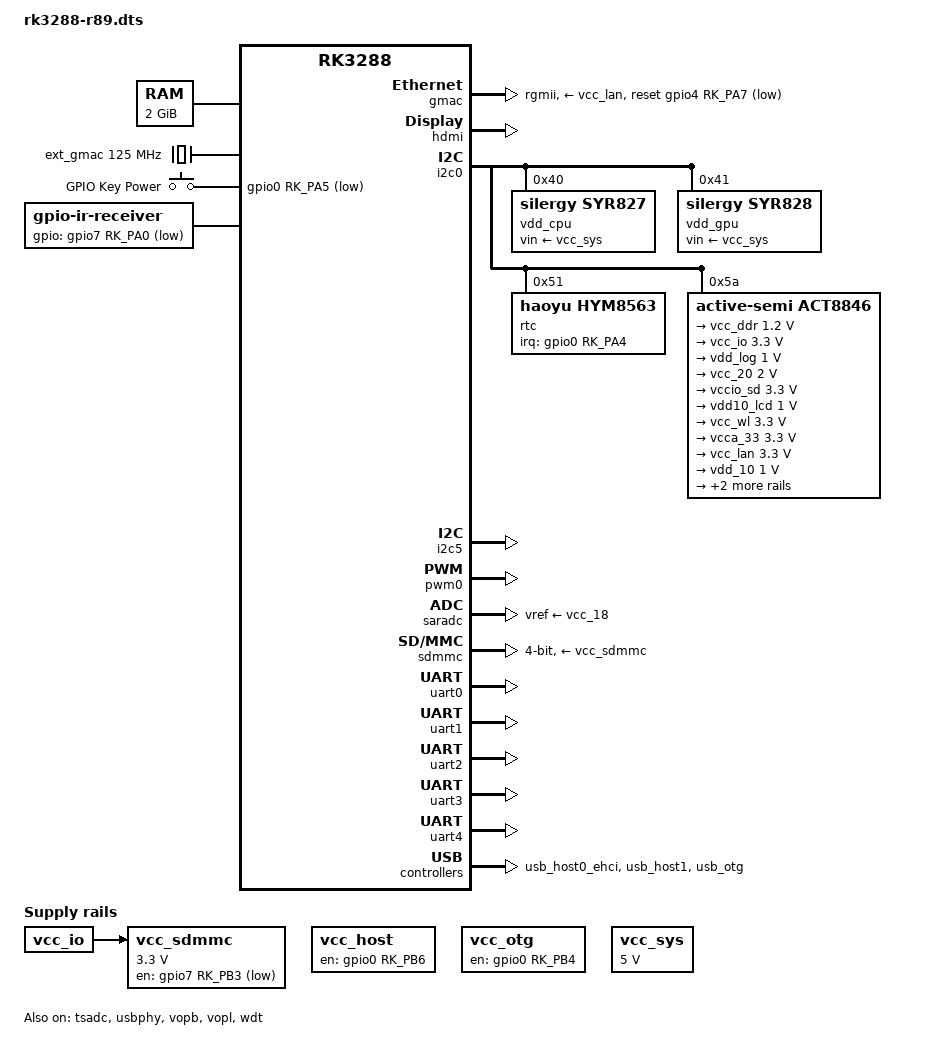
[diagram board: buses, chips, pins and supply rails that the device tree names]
// SPDX-License-Identifier: (GPL-2.0+ OR MIT)
/*
 * Copyright (c) 2015 Heiko Stuebner <heiko@sntech.de>
 */

/dts-v1/;
#include <dt-bindings/input/input.h>
#include <dt-bindings/pwm/pwm.h>
#include "rk3288.dtsi"

/ {
	compatible = "netxeon,r89", "rockchip,rk3288";

	memory@0 {
		device_type = "memory";
		reg = <0x0 0x0 0x0 0x80000000>;
	};

	ext_gmac: external-gmac-clock {
		compatible = "fixed-clock";
		clock-frequency = <125000000>;
		clock-output-names = "ext_gmac";
		#clock-cells = <0>;
	};

	gpio-keys {
		compatible = "gpio-keys";
		autorepeat;

		pinctrl-names = "default";
		pinctrl-0 = <&pwrbtn>;

		power {
			gpios = <&gpio0 RK_PA5 GPIO_ACTIVE_LOW>;
			linux,code = <KEY_POWER>;
			label = "GPIO Key Power";
			linux,input-type = <1>;
			wakeup-source;
			debounce-interval = <100>;
		};
	};

	ir: ir-receiver {
		compatible = "gpio-ir-receiver";
		gpios = <&gpio7 RK_PA0 GPIO_ACTIVE_LOW>;
		pinctrl-names = "default";
		pinctrl-0 = <&ir_int>;
	};

	vcc_host: vcc-host-regulator {
		compatible = "regulator-fixed";
		enable-active-high;
		gpio = <&gpio0 RK_PB6 GPIO_ACTIVE_HIGH>;
		pinctrl-names = "default";
		pinctrl-0 = <&host_vbus_drv>;
		regulator-name = "vcc_host";
		regulator-always-on;
		regulator-boot-on;
	};

	vcc_otg: vcc-otg-regulator {
		compatible = "regulator-fixed";
		enable-active-high;
		gpio = <&gpio0 RK_PB4 GPIO_ACTIVE_HIGH>;
		pinctrl-names = "default";
		pinctrl-0 = <&otg_vbus_drv>;
		regulator-name = "vcc_otg";
		regulator-always-on;
		regulator-boot-on;
	};

	vcc_sdmmc: sdmmc-regulator {
		compatible = "regulator-fixed";
		regulator-name = "sdmmc-supply";
		regulator-min-microvolt = <3300000>;
		regulator-max-microvolt = <3300000>;
		gpio = <&gpio7 RK_PB3 GPIO_ACTIVE_LOW>;
		startup-delay-us = <100000>;
		vin-supply = <&vcc_io>;
	};

	vcc_sys: sys-regulator {
		compatible = "regulator-fixed";
		regulator-name = "sys-supply";
		regulator-min-microvolt = <5000000>;
		regulator-max-microvolt = <5000000>;
		regulator-always-on;
		regulator-boot-on;
	};
};

&cpu0 {
	cpu0-supply = <&vdd_cpu>;
};

&gmac {
	phy-supply = <&vcc_lan>;
	phy-mode = "rgmii";
	clock_in_out = "input";
	snps,reset-gpio = <&gpio4 RK_PA7 GPIO_ACTIVE_HIGH>;
	snps,reset-active-low;
	snps,reset-delays-us = <0 10000 1000000>;
	assigned-clocks = <&cru SCLK_MAC>;
	assigned-clock-parents = <&ext_gmac>;
	pinctrl-names = "default";
	pinctrl-0 = <&rgmii_pins>;
	tx_delay = <0x30>;
	rx_delay = <0x10>;
	status = "ok";
};

&hdmi {
	status = "okay";
};

&i2c0 {
	status = "okay";

	vdd_cpu: pmic@40 {
		compatible = "silergy,syr827";
		reg = <0x40>;
		fcs,suspend-voltage-selector = <1>;
		regulator-name = "VDD_CPU";
		regulator-enable-ramp-delay = <300>;
		regulator-min-microvolt = <850000>;
		regulator-max-microvolt = <1350000>;
		regulator-ramp-delay = <8000>;
		regulator-always-on;
		regulator-boot-on;
		vin-supply = <&vcc_sys>;
	};

	vdd_gpu: pmic@41 {
		compatible = "silergy,syr828";
		reg = <0x41>;
		fcs,suspend-voltage-selector = <1>;
		regulator-name = "VDD_GPU";
		regulator-enable-ramp-delay = <300>;
		regulator-min-microvolt = <850000>;
		regulator-max-microvolt = <1350000>;
		regulator-ramp-delay = <8000>;
		regulator-always-on;
		regulator-boot-on;
		vin-supply = <&vcc_sys>;
	};

	rtc@51 {
		compatible = "haoyu,hym8563";
		reg = <0x51>;
		#clock-cells = <0>;
		clock-output-names = "xin32k";
		interrupt-parent = <&gpio0>;
		interrupts = <RK_PA4 IRQ_TYPE_EDGE_FALLING>;
		pinctrl-names = "default";
		pinctrl-0 = <&pmic_int>;
	};

	act8846: pmic@5a {
		compatible = "active-semi,act8846";
		reg = <0x5a>;
		pinctrl-names = "default";
		pinctrl-0 = <&pmic_vsel>, <&pwr_hold>;
		system-power-controller;

		regulators {
			vcc_ddr: REG1 {
				regulator-name = "VCC_DDR";
				regulator-min-microvolt = <1200000>;
				regulator-max-microvolt = <1200000>;
				regulator-always-on;
			};

			vcc_io: REG2 {
				regulator-name = "VCC_IO";
				regulator-min-microvolt = <3300000>;
				regulator-max-microvolt = <3300000>;
				regulator-always-on;
			};

			vdd_log: REG3 {
				regulator-name = "VDD_LOG";
				regulator-min-microvolt = <1000000>;
				regulator-max-microvolt = <1000000>;
				regulator-always-on;
			};

			vcc_20: REG4 {
				regulator-name = "VCC_20";
				regulator-min-microvolt = <2000000>;
				regulator-max-microvolt = <2000000>;
				regulator-always-on;
			};

			vccio_sd: REG5 {
				regulator-name = "VCCIO_SD";
				regulator-min-microvolt = <3300000>;
				regulator-max-microvolt = <3300000>;
				regulator-always-on;
			};

			vdd10_lcd: REG6 {
				regulator-name = "VDD10_LCD";
				regulator-min-microvolt = <1000000>;
				regulator-max-microvolt = <1000000>;
				regulator-always-on;
			};

			vcc_wl: REG7 {
				regulator-name = "VCC_WL";
				regulator-min-microvolt = <3300000>;
				regulator-max-microvolt = <3300000>;
				regulator-always-on;
			};

			vcca_33: REG8 {
				regulator-name = "VCCA_33";
				regulator-min-microvolt = <3300000>;
				regulator-max-microvolt = <3300000>;
				regulator-always-on;
			};

			vcc_lan: REG9 {
				regulator-name = "VCC_LAN";
				regulator-min-microvolt = <3300000>;
				regulator-max-microvolt = <3300000>;
				regulator-always-on;
			};

			vdd_10: REG10 {
				regulator-name = "VDD_10";
				regulator-min-microvolt = <1000000>;
				regulator-max-microvolt = <1000000>;
				regulator-always-on;
			};

			vcc_18: REG11 {
				regulator-name = "VCC_18";
				regulator-min-microvolt = <1800000>;
				regulator-max-microvolt = <1800000>;
				regulator-always-on;
			};

			vcc18_lcd: REG12 {
				regulator-name = "VCC18_LCD";
				regulator-min-microvolt = <1800000>;
				regulator-max-microvolt = <1800000>;
				regulator-always-on;
			};
		};
	};
};

&i2c5 {
	status = "okay";
};

&pinctrl {
	pcfg_output_high: pcfg-output-high {
		output-high;
	};

	pcfg_output_low: pcfg-output-low {
		output-low;
	};

	act8846 {
		pmic_vsel: pmic-vsel {
			rockchip,pins = <7 RK_PA1 RK_FUNC_GPIO &pcfg_output_low>;
		};

		pwr_hold: pwr-hold {
			rockchip,pins = <0 RK_PA6 RK_FUNC_GPIO &pcfg_output_high>;
		};
	};

	buttons {
		pwrbtn: pwrbtn {
			rockchip,pins = <0 RK_PA5 RK_FUNC_GPIO &pcfg_pull_up>;
		};
	};

	ir {
		ir_int: ir-int {
			rockchip,pins = <7 RK_PA0 RK_FUNC_GPIO &pcfg_pull_up>;
		};
	};

	pmic {
		pmic_int: pmic-int {
			rockchip,pins = <0 RK_PA4 RK_FUNC_GPIO &pcfg_pull_up>;
		};
	};

	usb {
		host_vbus_drv: host-vbus-drv {
			rockchip,pins = <0 RK_PB6 RK_FUNC_GPIO &pcfg_pull_none>;
		};

		otg_vbus_drv: otg-vbus-drv {
			rockchip,pins = <0 RK_PB4 RK_FUNC_GPIO &pcfg_pull_none>;
		};
	};
};

&pwm0 {
	status = "okay";
};

&saradc {
	vref-supply = <&vcc_18>;
	status = "okay";
};

&sdmmc {
	bus-width = <4>;
	cap-mmc-highspeed;
	cap-sd-highspeed;
	card-detect-delay = <200>;
	disable-wp;
	pinctrl-names = "default";
	pinctrl-0 = <&sdmmc_clk &sdmmc_cmd &sdmmc_cd &sdmmc_bus4>;
	vmmc-supply = <&vcc_sdmmc>;
	vqmmc-supply = <&vccio_sd>;
	status = "okay";
};

&tsadc {
	rockchip,hw-tshut-mode = <0>;
	rockchip,hw-tshut-polarity = <0>;
	status = "okay";
};

&uart0 {
	status = "okay";
};

&uart1 {
	status = "okay";
};

&uart2 {
	status = "okay";
};

&uart3 {
	status = "okay";
};

&uart4 {
	status = "okay";
};

&usb_host0_ehci {
	status = "okay";
};

&usb_host1 {
	status = "okay";
};

&usb_otg {
	status = "okay";
};

&usbphy {
	status = "okay";
};

&vopb {
	status = "okay";
};

&vopb_mmu {
	status = "okay";
};

&vopl {
	status = "okay";
};

&vopl_mmu {
	status = "okay";
};

&wdt {
	status = "okay";
};
